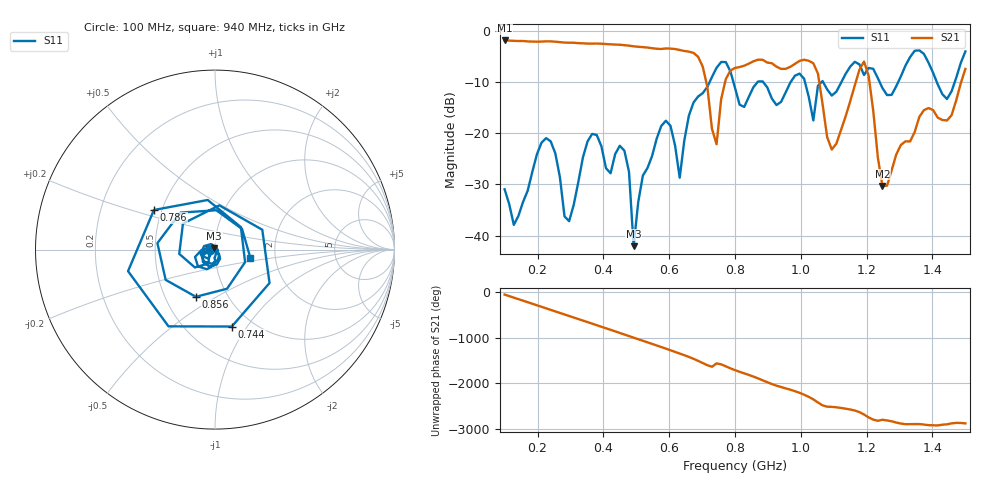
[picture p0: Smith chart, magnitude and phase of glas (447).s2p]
! NanoVNA-App
! Date: 2025-09-25 15:58:57
! Start: 100MHz Stop: 1,5GHz Points: 101
! S-Parameter data: F S11 S21 S12 S22
# Hz S RI R 50
!  Frequency  S11_Real  S11_Imag  S21_Real  S21_Imag  S12_Real  S12_Imag  S22_Real  S22_Imag
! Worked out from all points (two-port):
!   101 points, 100 MHz to 1.5 GHz, reference 50 ohm
!   highest |S21| = -1.80 dB at 100 MHz (marker M1); lowest = -30.3 dB at 1.248 GHz (marker M2)
!   |S21| within 3 dB of the highest: start of sweep to 684.3 MHz
!   lowest |S11| = -42.1 dB at 492 MHz (marker M3), VSWR 1.02, Z = 49.5 + j0.609 ohm
!   |S11| at or under -10 dB: start of sweep to 722.4 MHz; 795.3 MHz to 867.9 MHz (72.51 MHz wide, 8.72 % of centre); 886.2 MHz to 968.6 MHz (82.37 MHz wide, 8.88 % of centre) (the widest 3 of 7)
!   S12 and S22 are empty: the file has one direction only
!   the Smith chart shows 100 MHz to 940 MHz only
!   S11 on the Smith chart (normalised r, x): 100 MHz: 0.95, -0.01; 744 MHz: 0.80, -0.85; 786 MHz: 0.45, +0.24; 856 MHz: 0.71, -0.41; 940 MHz: 1.48, -0.15
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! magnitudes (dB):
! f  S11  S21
! 100 MHz  -30.9  -1.8
! 128 MHz  -37.9  -1.9
! 226 MHz  -20.9  -2.0
! 296 MHz  -37.2  -2.2
! 338 MHz  -24.7  -2.4
! 464 MHz  -23.4  -2.7
! 492 MHz  -42.1  -2.9
! 576 MHz  -18.5  -3.5
! 632 MHz  -28.7  -3.7
! 702 MHz  -12.1  -6.9
! 744 MHz  -7.2  -22.1
! 786 MHz  -7.8  -7.7
! 800 MHz  -11.1  -7.2
! 856 MHz  -10.9  -5.9
! 940 MHz  -13.8  -7.4
! 996 MHz  -8.3  -5.8
! 1.038 GHz  -17.5  -6.3
! 1.094 GHz  -12.6  -23.2
! 1.192 GHz  -8.6  -5.9
! 1.248 GHz  -11.1  -30.3
! 1.276 GHz  -12.4  -27.2
! 1.5 GHz  -4.0  -7.4
